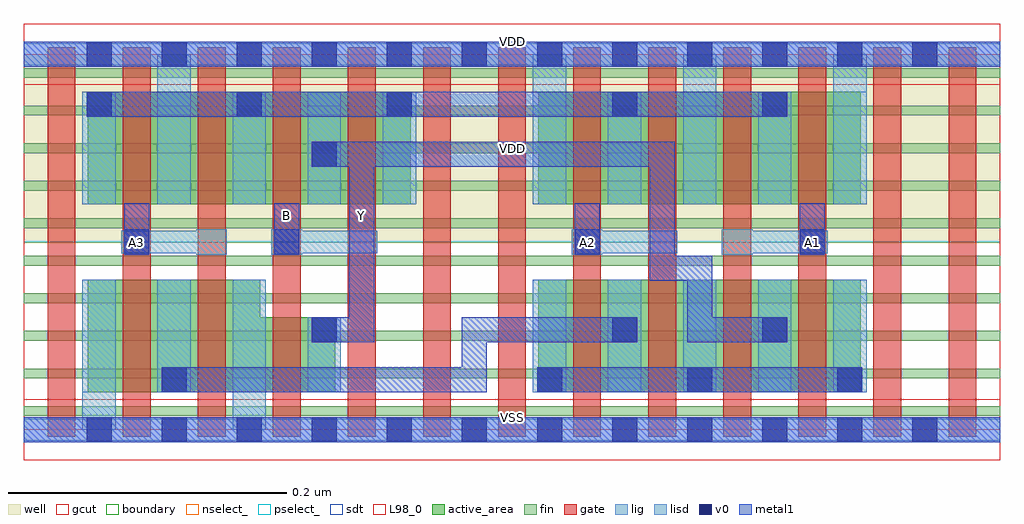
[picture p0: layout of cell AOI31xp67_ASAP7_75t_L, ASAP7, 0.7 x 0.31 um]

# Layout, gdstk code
import gdstk
lib = gdstk.Library(unit=1e-6, precision=2.5e-10)
def R(c, l, rs):  # rectangles x0, y0, x1, y1
    for r in rs: c.add(gdstk.rectangle(r[:2], r[2:], *l))
def A(c, l, x, y, w, h, nx, ny, dx, dy):  # array of equal rectangles
    R(c, l, [(x+i*dx, y+j*dy, x+i*dx+w, y+j*dy+h) for i in range(nx) for j in range(ny)])
def P(c, l, *ps):  # polygons
    for p in ps: c.add(gdstk.Polygon(p, *l))
well = (1, 0)
fin = (2, 0)
gate = (7, 0)
gcut = (10, 0)
active_area = (11, 0)
nselect_ = (12, 0)
pselect_ = (13, 0)
lig = (16, 0)
lisd = (17, 0)
v0 = (18, 0)
metal1 = (19, 0)
sdt = (88, 0)
L98_0 = (98, 0)
boundary = (100, 0)

aoi31xp67_asap7_75t_l = lib.new_cell('AOI31xp67_ASAP7_75t_L')
R(aoi31xp67_asap7_75t_l, well, [(0,0.135,0.702,0.27)])
A(aoi31xp67_asap7_75t_l, fin, 0, 0.01, 0.702, 0.007, 1, 10, 0, 0.027)
A(aoi31xp67_asap7_75t_l, gate, 0.017, -0.005, 0.02, 0.28, 13, 1, 0.054, 0)
R(aoi31xp67_asap7_75t_l, gcut, [(0,-0.022,0.702,0.022), (0,0.248,0.702,0.292)])
R(aoi31xp67_asap7_75t_l, active_area, [(0.37,0.027,0.602,0.108), (0.046,0.162,0.278,0.243), (0.37,0.162,0.602,0.243)])
P(aoi31xp67_asap7_75t_l, active_area, [(0.224,0.081),(0.17,0.081),(0.17,0.108),(0.046,0.108),(0.046,0.027),(0.224,0.027)])
R(aoi31xp67_asap7_75t_l, nselect_, [(0,0,0.702,0.135)])
R(aoi31xp67_asap7_75t_l, pselect_, [(0,0.135,0.702,0.27)])
R(aoi31xp67_asap7_75t_l, lig, [(0,-0.008,0.702,0.008), (0.124,0.126,0.146,0.144), (0.178,0.126,0.2,0.144), (0.394,0.126,0.416,0.144), (0.502,0.126,0.524,0.144), (0.07,0.127,0.146,0.143), (0.178,0.127,0.254,0.143), (0.394,0.127,0.47,0.143), (0.502,0.127,0.578,0.143), (0,0.262,0.702,0.278)])
A(aoi31xp67_asap7_75t_l, lisd, 0.366, 0.027, 0.024, 0.081, 5, 1, 0.054, 0)
A(aoi31xp67_asap7_75t_l, lisd, 0.15, 0.162, 0.024, 0.081, 3, 1, 0.054, 0)
R(aoi31xp67_asap7_75t_l, lisd, [(0.042,0,0.066,0.108), (0.042,0,0.066,0.108), (0.15,0,0.174,0.108), (0.15,0,0.174,0.108), (0.096,0.027,0.12,0.108), (0.204,0.027,0.228,0.081), (0.042,0.162,0.066,0.243), (0.096,0.162,0.12,0.27), (0.096,0.162,0.12,0.27), (0.366,0.162,0.39,0.27), (0.366,0.162,0.39,0.27), (0.42,0.162,0.444,0.243), (0.474,0.162,0.498,0.27), (0.474,0.162,0.498,0.27), (0.528,0.162,0.552,0.243), (0.582,0.162,0.606,0.27), (0.582,0.162,0.606,0.27)])
A(aoi31xp67_asap7_75t_l, v0, 0.045, -0.009, 0.018, 0.018, 12, 2, 0.054, 0.27)
A(aoi31xp67_asap7_75t_l, v0, 0.369, 0.027, 0.018, 0.018, 3, 1, 0.108, 0)
A(aoi31xp67_asap7_75t_l, v0, 0.045, 0.225, 0.018, 0.018, 3, 1, 0.108, 0)
R(aoi31xp67_asap7_75t_l, v0, [(0.099,0.027,0.117,0.045), (0.207,0.063,0.225,0.081), (0.423,0.063,0.441,0.081), (0.531,0.063,0.549,0.081), (0.072,0.126,0.09,0.144), (0.18,0.126,0.198,0.144), (0.396,0.126,0.414,0.144), (0.558,0.126,0.576,0.144), (0.207,0.189,0.225,0.207), (0.423,0.225,0.441,0.243), (0.531,0.225,0.549,0.243)])
A(aoi31xp67_asap7_75t_l, metal1, 0.369, 0.027, 0.018, 0.018, 3, 1, 0.108, 0)
A(aoi31xp67_asap7_75t_l, metal1, 0.045, 0.225, 0.018, 0.018, 3, 1, 0.108, 0)
R(aoi31xp67_asap7_75t_l, metal1, [(0,-0.009,0.702,0.009), (0.099,0.027,0.117,0.045), (0.369,0.027,0.603,0.045), (0.207,0.063,0.225,0.081), (0.423,0.063,0.441,0.081), (0.531,0.063,0.549,0.081), (0.072,0.126,0.09,0.144), (0.072,0.126,0.09,0.163), (0.18,0.126,0.198,0.144), (0.18,0.126,0.198,0.163), (0.396,0.126,0.414,0.144), (0.396,0.126,0.414,0.163), (0.558,0.126,0.576,0.144), (0.558,0.126,0.576,0.163), (0.207,0.189,0.225,0.207), (0.045,0.225,0.549,0.243), (0.423,0.225,0.441,0.243), (0.531,0.225,0.549,0.243), (0,0.261,0.702,0.279)])
P(aoi31xp67_asap7_75t_l, metal1, [(0.441,0.081),(0.315,0.081),(0.315,0.045),(0.099,0.045),(0.099,0.027),(0.333,0.027),(0.333,0.063),(0.441,0.063)],
  [(0.549,0.081),(0.495,0.081),(0.495,0.125),(0.468,0.125),(0.468,0.207),(0.207,0.207),(0.207,0.189),(0.234,0.189),(0.234,0.081),(0.207,0.081),(0.207,0.063),(0.252,0.063),(0.252,0.189),(0.45,0.189),(0.45,0.107),(0.477,0.107),(0.477,0.063),(0.549,0.063)])
A(aoi31xp67_asap7_75t_l, sdt, 0.042, 0.027, 0.024, 0.081, 3, 1, 0.054, 0)
A(aoi31xp67_asap7_75t_l, sdt, 0.366, 0.027, 0.024, 0.081, 5, 1, 0.054, 0)
A(aoi31xp67_asap7_75t_l, sdt, 0.096, 0.162, 0.024, 0.081, 4, 1, 0.054, 0)
A(aoi31xp67_asap7_75t_l, sdt, 0.366, 0.162, 0.024, 0.081, 3, 1, 0.054, 0)
A(aoi31xp67_asap7_75t_l, sdt, 0.474, 0.162, 0.024, 0.081, 3, 1, 0.054, 0)
R(aoi31xp67_asap7_75t_l, sdt, [(0.042,0.027,0.066,0.108), (0.15,0.027,0.174,0.108), (0.204,0.027,0.228,0.081), (0.042,0.162,0.066,0.243), (0.096,0.162,0.12,0.243), (0.366,0.162,0.39,0.243), (0.582,0.162,0.606,0.243)])
R(aoi31xp67_asap7_75t_l, L98_0, [(0,0,0.702,0.27)])
R(aoi31xp67_asap7_75t_l, boundary, [(0,0,0.702,0.27)])
aoi31xp67_asap7_75t_l.add(gdstk.Label('VDD', (0.351,0.2025), layer=1, texttype=251))
aoi31xp67_asap7_75t_l.add(gdstk.Label('VSS', (0.351,-0.0675), layer=3, texttype=251))
aoi31xp67_asap7_75t_l.add(gdstk.Label('VSS', (0.351,0.009), layer=19, texttype=251))
aoi31xp67_asap7_75t_l.add(gdstk.Label('VDD', (0.351,0.279), layer=19, texttype=251))
aoi31xp67_asap7_75t_l.add(gdstk.Label('A3', (0.081,0.135), layer=19, texttype=251))
aoi31xp67_asap7_75t_l.add(gdstk.Label('Y', (0.243,0.154), layer=19, texttype=251))
aoi31xp67_asap7_75t_l.add(gdstk.Label('B', (0.189,0.154), layer=19, texttype=251))
aoi31xp67_asap7_75t_l.add(gdstk.Label('A2', (0.405,0.135), layer=19, texttype=251))
aoi31xp67_asap7_75t_l.add(gdstk.Label('A1', (0.567,0.135), layer=19, texttype=251))

lib.write_gds('AOI31xp67_ASAP7_75t_L.gds')
